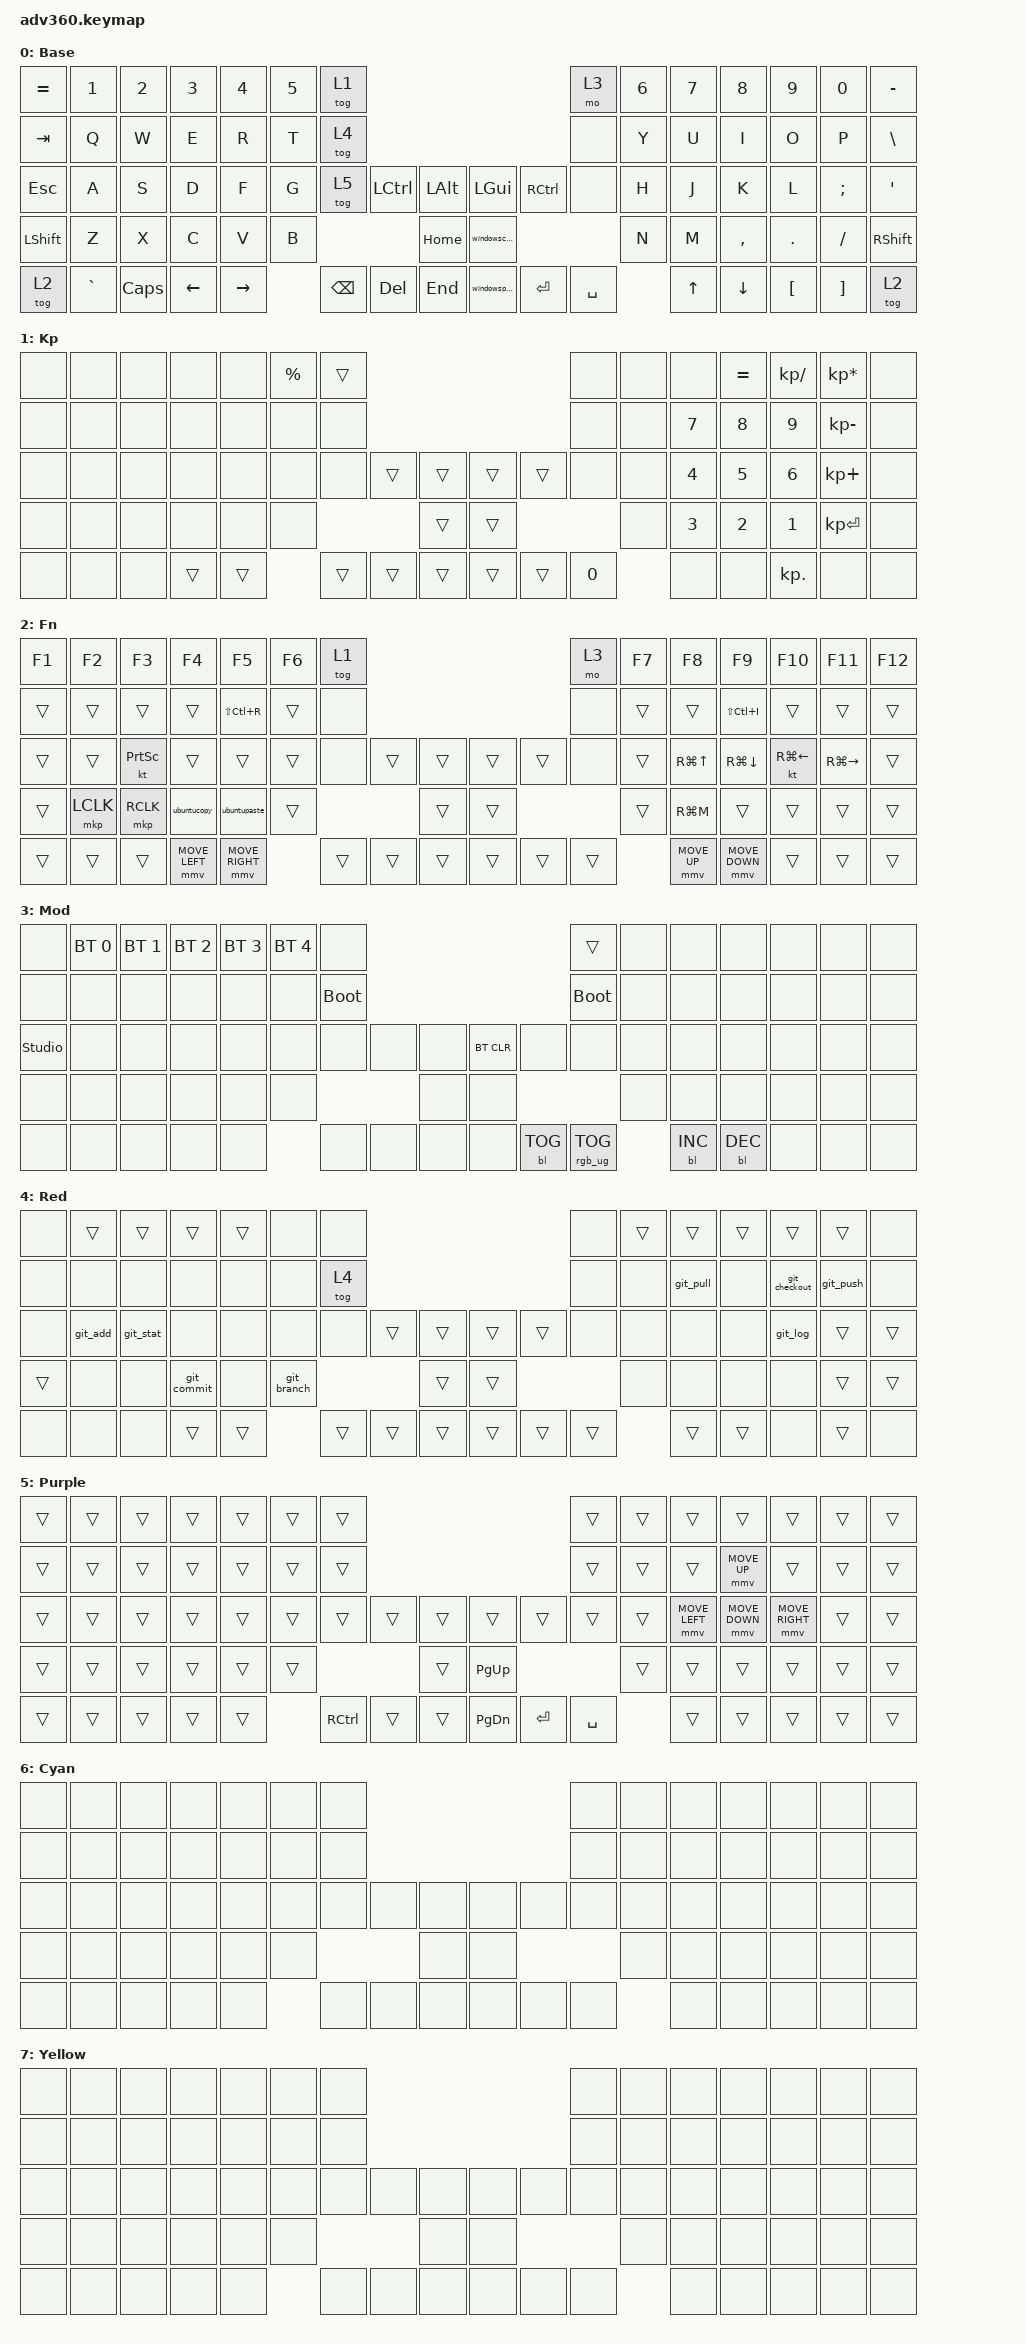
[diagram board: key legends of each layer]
#include <dt-bindings/zmk/stp.h>
#include <behaviors.dtsi>
#include <dt-bindings/zmk/backlight.h>
#include <dt-bindings/zmk/bt.h>
#include <dt-bindings/zmk/keys.h>
#include <dt-bindings/zmk/pointing.h>
#include <dt-bindings/zmk/rgb.h>

/ {
    behaviors {
        #include "macros.dtsi"
      #include "version.dtsi"

        hm: homerow_mods {
            compatible = "zmk,behavior-hold-tap";
            label = "HOMEROW_MODS";
            #binding-cells = <2>;
            tapping-term-ms = <200>;
            quick_tap_ms = <175>;
            flavor = "tap-preferred";
            bindings = <&kp>, <&kp>;
        };

        bracesbehavior: bracesbehavior {
            compatible = "zmk,behavior-mod-morph";
            label = "BRACESBEHAVIOR";
            bindings = <&bracesbehavior>, <&curlybraces>;

            #binding-cells = <0>;
            mods = <(MOD_LSFT|MOD_RSFT)>;
        };

        uparentisis: uparentisis {
            compatible = "zmk,behavior-mod-morph";
            label = "UPARENTISIS";
            bindings = <&nine>, <&completeparentesis>;

            #binding-cells = <0>;
            mods = <(MOD_LSFT|MOD_RSFT)>;
        };
    };

    macros {
        git_stat: git_stat {
            compatible = "zmk,behavior-macro";
            #binding-cells = <0>;
            bindings = <&kp G &kp I &kp T &kp SPACE &kp S &kp T &kp A &kp T &kp U &kp S &kp ENTER>;
            label = "GIT_STAT";
        };

        git_add: git_add {
            compatible = "zmk,behavior-macro";
            #binding-cells = <0>;
            bindings = <&kp G &kp I &kp T &kp SPACE &kp A &kp D &kp D &kp SPACE &kp DOT &kp ENTER>;
            label = "GIT_ADD";
        };

        git_push: git_push {
            compatible = "zmk,behavior-macro";
            #binding-cells = <0>;
            bindings = <&kp G &kp I &kp T &kp SPACE &kp P &kp U &kp S &kp H>;
            label = "GIT_PUSH";
        };

        git_pull: git_pull {
            compatible = "zmk,behavior-macro";
            #binding-cells = <0>;
            bindings = <&kp G &kp I &kp T &kp SPACE &kp P &kp U &kp L &kp L>;
            label = "GIT_PULL";
        };

        git_commit: git_commit {
            compatible = "zmk,behavior-macro";
            #binding-cells = <0>;
            bindings = <&kp G &kp I &kp T &kp SPACE &kp C &kp O &kp M &kp M &kp I &kp T &kp SPACE &kp MINUS &kp M &kp SPACE &kp DQT &kp DQT &kp LEFT>;
            label = "GIT_COMMIT";
        };

        git_branch: git_branch {
            compatible = "zmk,behavior-macro";
            #binding-cells = <0>;
            bindings = <&kp G &kp I &kp T &kp SPACE &kp B &kp R &kp A &kp N &kp C &kp H &kp SPACE>;
            label = "GIT_BRANCH";
        };

        git_checkout: git_checkout {
            compatible = "zmk,behavior-macro";
            #binding-cells = <0>;
            bindings = <&kp G &kp I &kp T &kp SPACE &kp C &kp H &kp E &kp C &kp K &kp O &kp U &kp T &kp SPACE>;
            label = "GIT_CHECKOUT";
        };

        git_log: git_log {
            compatible = "zmk,behavior-macro";
            #binding-cells = <0>;
            bindings = <&kp G &kp I &kp T &kp SPACE &kp L &kp O &kp G &kp SPACE &kp MINUS &kp MINUS &kp O &kp N &kp E &kp L &kp I &kp N &kp E &kp ENTER>;
            label = "GIT_LOG";
        };

        windowscopy: windowscopy {
            compatible = "zmk,behavior-macro";
            #binding-cells = <0>;
            bindings = <&kp LC(C)>;
            label = "WINDOWSCOPY";
        };

        windowspaste: windowspaste {
            compatible = "zmk,behavior-macro";
            #binding-cells = <0>;
            bindings = <&kp LC(V)>;
            label = "WINDOWSPASTE";
        };

        ubuntucopy: ubuntucopy {
            compatible = "zmk,behavior-macro";
            #binding-cells = <0>;
            bindings = <&kp LS(LC(C))>;
            label = "UBUNTUCOPY";
        };

        ubuntupaste: ubuntupaste {
            compatible = "zmk,behavior-macro";
            #binding-cells = <0>;
            bindings = <&kp LS(LC(V))>;
            label = "UBUNTUPASTE";
        };

        braces: braces {
            compatible = "zmk,behavior-macro";
            #binding-cells = <0>;
            bindings = <&kp LEFT_BRACKET &kp RIGHT_BRACKET &kp LEFT>;
            label = "BRACES";
        };

        curlybraces: curlybraces {
            compatible = "zmk,behavior-macro";
            #binding-cells = <0>;
            bindings = <&kp LEFT_BRACE &kp RIGHT_BRACE &kp LEFT>;
            label = "CURLYBRACES";
        };

        completeparentesis: completeparentesis {
            compatible = "zmk,behavior-macro";
            #binding-cells = <0>;
            bindings = <&kp LPAR &kp RPAR &kp LEFT_ARROW>;
            label = "COMPLETEPARENTESIS";
        };

        nine: nine {
            compatible = "zmk,behavior-macro";
            #binding-cells = <0>;
            bindings = <&kp KP_NUMBER_9>;
            label = "NINE";
        };
    };

    keymap {
        compatible = "zmk,keymap";

        default_layer {
            display-name = "Base";
            bindings = <
&kp EQUAL  &kp N1     &kp N2    &kp N3    &kp N4     &kp N5  &tog 1                                                       &mo 3      &kp N6  &kp N7  &kp N8     &kp N9            &kp N0    &kp MINUS
&kp TAB    &kp Q      &kp W     &kp E     &kp R      &kp T   &tog 4                                                       &none      &kp Y   &kp U   &kp I      &kp O             &kp P     &kp BSLH
&kp ESC    &kp A      &kp S     &kp D     &kp F      &kp G   &tog 5    &kp LCTRL  &kp LALT      &kp LGUI       &kp RCTRL  &none      &kp H   &kp J   &kp K      &kp L             &kp SEMI  &kp SQT
&kp LSHFT  &kp Z      &kp X     &kp C     &kp V      &kp B                        &kp HOME      &windowscopy                         &kp N   &kp M   &kp COMMA  &kp DOT           &kp FSLH  &kp RIGHT_SHIFT
&tog 2     &kp GRAVE  &kp CAPS  &kp LEFT  &kp RIGHT          &kp BSPC  &kp DEL    &kp END       &windowspaste  &kp ENTER  &kp SPACE          &kp UP  &kp DOWN   &kp LEFT_BRACKET  &kp RBKT  &tog 2
            >;
        };

        keypad {
            display-name = "Kp";
            bindings = <
&none  &none  &none  &none   &none   &kp PERCENT  &trans                                      &none         &none  &none   &kp EQUAL  &kp KP_DIVIDE  &kp KP_MULTIPLY  &none
&none  &none  &none  &none   &none   &none        &none                                       &none         &none  &kp N7  &kp N8     &kp N9         &kp KP_MINUS     &none
&none  &none  &none  &none   &none   &none        &none   &trans  &trans      &trans  &trans  &none         &none  &kp N4  &kp N5     &kp N6         &kp KP_PLUS      &none
&none  &none  &none  &none   &none   &none                        &trans      &trans                        &none  &kp N3  &kp N2     &kp N1         &kp KP_ENTER     &none
&none  &none  &none  &trans  &trans               &trans  &trans  &trans      &trans  &trans  &kp NUMBER_0         &none   &none      &kp KP_DOT     &none            &none
            >;
        };

        fn {
            display-name = "Fn";
            bindings = <
&kp F1  &kp F2     &kp F3           &kp F4          &kp F5           &kp F6  &tog 1                                      &mo 3   &kp F7  &kp F8            &kp F9              &kp F10       &kp F11              &kp F12
&trans  &trans     &trans           &trans          &kp LS(LC(R))    &trans  &none                                       &none   &trans  &trans            &kp LS(LC(I))       &trans        &trans               &trans
&trans  &trans     &kt PRINTSCREEN  &trans          &trans           &trans  &none   &trans  &trans      &trans  &trans  &none   &trans  &kp RG(UP_ARROW)  &kp RG(DOWN_ARROW)  &kt RG(LEFT)  &kp RG(RIGHT_ARROW)  &trans
&trans  &mkp LCLK  &mkp RCLK        &ubuntucopy     &ubuntupaste     &trans                  &trans      &trans                  &trans  &kp RG(M)         &trans              &trans        &trans               &trans
&trans  &trans     &trans           &mmv MOVE_LEFT  &mmv MOVE_RIGHT          &trans  &trans  &trans      &trans  &trans  &trans          &mmv MOVE_UP      &mmv MOVE_DOWN      &trans        &trans               &trans
            >;
        };

        mod {
            display-name = "Mod";
            bindings = <
&none           &bt BT_SEL 0  &bt BT_SEL 1  &bt BT_SEL 2  &bt BT_SEL 3  &bt BT_SEL 4  &none                                                  &trans           &none  &none       &none       &none  &none  &none
&none           &none         &none         &none         &none         &none         &bootloader                                            &bootloader      &none  &none       &none       &none  &none  &none
&studio_unlock  &none         &none         &none         &none         &none         &none        &none  &none      &bt BT_CLR  &none       &none            &none  &none       &none       &none  &none  &none
&none           &none         &none         &none         &none         &none                             &none      &none                                    &none  &none       &none       &none  &none  &none
&none           &none         &none         &none         &none                       &none        &none  &none      &none       &bl BL_TOG  &rgb_ug RGB_TOG         &bl BL_INC  &bl BL_DEC  &none  &none  &none
            >;
        };

        extra1 {
            display-name = "Red";
            bindings = <
&none   &trans    &trans     &trans       &trans  &none        &none                                       &none   &trans  &trans     &trans  &trans         &trans     &none
&none   &none     &none      &none        &none   &none        &tog 4                                      &none   &none   &git_pull  &none   &git_checkout  &git_push  &none
&none   &git_add  &git_stat  &none        &none   &none        &none   &trans  &trans      &trans  &trans  &none   &none   &none      &none   &git_log       &trans     &trans
&trans  &none     &none      &git_commit  &none   &git_branch                  &trans      &trans                  &none   &none      &none   &none          &trans     &trans
&none   &none     &none      &trans       &trans               &trans  &trans  &trans      &trans  &trans  &trans          &trans     &trans  &none          &trans     &none
            >;
        };

        extra2 {
            display-name = "Purple";
            bindings = <
&trans  &trans  &trans  &trans  &trans  &trans  &trans                                                           &trans     &trans  &trans          &trans          &trans           &trans  &trans
&trans  &trans  &trans  &trans  &trans  &trans  &trans                                                           &trans     &trans  &trans          &mmv MOVE_UP    &trans           &trans  &trans
&trans  &trans  &trans  &trans  &trans  &trans  &trans             &trans  &trans      &trans         &trans     &trans     &trans  &mmv MOVE_LEFT  &mmv MOVE_DOWN  &mmv MOVE_RIGHT  &trans  &trans
&trans  &trans  &trans  &trans  &trans  &trans                             &trans      &kp PAGE_UP                          &trans  &trans          &trans          &trans           &trans  &trans
&trans  &trans  &trans  &trans  &trans          &kp RIGHT_CONTROL  &trans  &trans      &kp PAGE_DOWN  &kp ENTER  &kp SPACE          &trans          &trans          &trans           &trans  &trans
            >;
        };

        extra3 {
            display-name = "Cyan";
            bindings = <
&none  &none  &none  &none  &none  &none  &none                                  &none  &none  &none  &none  &none  &none  &none
&none  &none  &none  &none  &none  &none  &none                                  &none  &none  &none  &none  &none  &none  &none
&none  &none  &none  &none  &none  &none  &none  &none  &none      &none  &none  &none  &none  &none  &none  &none  &none  &none
&none  &none  &none  &none  &none  &none                &none      &none                &none  &none  &none  &none  &none  &none
&none  &none  &none  &none  &none         &none  &none  &none      &none  &none  &none         &none  &none  &none  &none  &none
            >;
        };

        extra4 {
            display-name = "Yellow";
            bindings = <
&none  &none  &none  &none  &none  &none  &none                                  &none  &none  &none  &none  &none  &none  &none
&none  &none  &none  &none  &none  &none  &none                                  &none  &none  &none  &none  &none  &none  &none
&none  &none  &none  &none  &none  &none  &none  &none  &none      &none  &none  &none  &none  &none  &none  &none  &none  &none
&none  &none  &none  &none  &none  &none                &none      &none                &none  &none  &none  &none  &none  &none
&none  &none  &none  &none  &none         &none  &none  &none      &none  &none  &none         &none  &none  &none  &none  &none
            >;
        };
    };
};



  ##key maps
